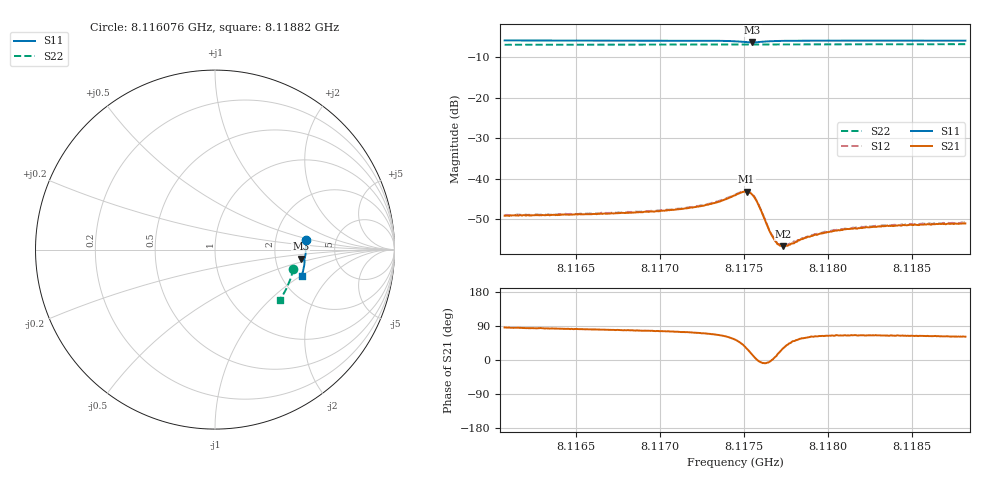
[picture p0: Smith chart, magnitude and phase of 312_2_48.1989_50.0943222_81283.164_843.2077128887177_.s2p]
#  HZ  S  RI  R  50.00
! Rohde & Schwarz Vector Network Analyzer
! Rohde-Schwarz,ZNB20-2Port,1311601062101988,3.16
! Created: UTC 3/20/2024, 11:50:01 AM
! freq[Hz]  re:S11  im:S11  re:S21  im:S21  re:S12  im:S12  re:S22  im:S22
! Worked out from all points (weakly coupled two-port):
!   401 points, 8.116076 GHz to 8.11882 GHz, reference 50 ohm
!   highest |S21| = -43.16 dB at 8.117516 GHz (marker M1); lowest = -56.6 dB at 8.117736 GHz (marker M2)
!   lowest |S11| = -6.4 dB at 8.117551 GHz (marker M3), VSWR 2.85, Z = 140 - j18.6 ohm
!   |S11| at or under -10 dB: nowhere
!   |S22| runs from -7.0 to -6.8 dB; largest |S21 - S12| = 0.00018
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8.1160757e9  0.5046 0.0526  0.000253 0.0035  0.000338 0.00358  0.4359 -0.1065
8.1165353e9  0.5063 0.0179  0.000538 0.0036  0.000616 0.00365  0.4282 -0.1376
8.116995e9  0.5054 -0.0176  0.000957 0.00385  0.00102 0.00396  0.4187 -0.168
8.1172557e9  0.5024 -0.0395  0.00154 0.00438  0.00162 0.00449  0.4121 -0.1852
8.1173586e9  0.4992 -0.0495  0.0022 0.00475  0.0023 0.00488  0.4093 -0.192
8.1174478e9  0.492 -0.0584  0.00368 0.00505  0.00381 0.00506  0.4065 -0.1976
8.117489e9  0.4855 -0.0601  0.00501 0.0046  0.00517 0.00464  0.405 -0.2001
8.1175164e9  0.4804 -0.0582  0.00596 0.00359  0.00609 0.00365  0.4042 -0.2018
8.1175508e9  0.4777 -0.0513  0.00618 0.00151  0.0063 0.0015  0.4031 -0.2034
8.1175645e9  0.4788 -0.0485  0.0058 0.000706  0.00593 0.000671  0.4027 -0.2042
8.1175851e9  0.4822 -0.0454  0.00489 -0.00015  0.00497 -0.000192  0.4025 -0.2053
8.1176468e9  0.4929 -0.0478  0.00244 -0.00028  0.00246 -0.000288  0.4012 -0.209
8.1176742e9  0.4955 -0.0508  0.0019 7e-05  0.00193 9.36e-05  0.4005 -0.2111
8.1177017e9  0.497 -0.0542  0.0015 0.000415  0.00152 0.000395  0.3998 -0.2128
8.1177154e9  0.4977 -0.0557  0.00139 0.000549  0.00145 0.00055  0.3992 -0.2137
8.117736e9  0.4982 -0.0581  0.00126 0.000766  0.00127 0.000791  0.3987 -0.215
8.1177634e9  0.4988 -0.0611  0.00114 0.000981  0.00118 0.00103  0.3979 -0.2168
8.1178389e9  0.4991 -0.0687  0.000998 0.00149  0.00103 0.00149  0.3955 -0.2216
8.1179075e9  0.4986 -0.0749  0.00093 0.00174  0.000964 0.00179  0.3935 -0.226
8.1180859e9  0.4967 -0.0897  0.000982 0.00211  0.00105 0.00216  0.3875 -0.2371
8.1183672e9  0.4923 -0.1113  0.00115 0.00237  0.00113 0.0024  0.3774 -0.2539
8.11882e9  0.4834 -0.1443  0.00134 0.00247  0.00138 0.00254  0.3598 -0.2806
